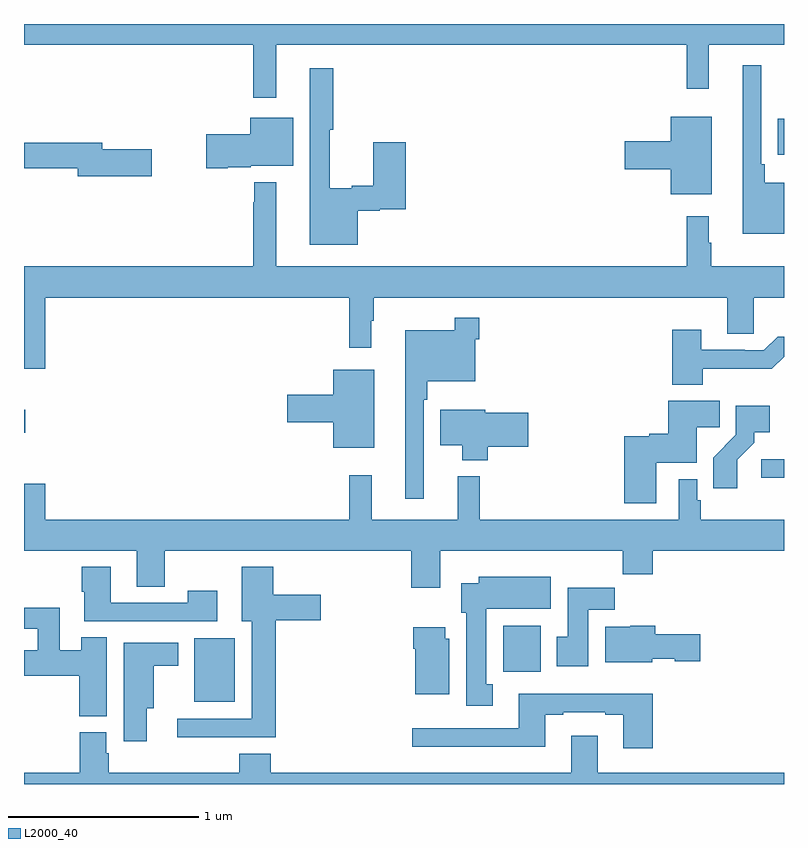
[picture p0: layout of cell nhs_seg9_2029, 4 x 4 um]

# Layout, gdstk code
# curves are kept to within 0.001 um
import gdstk
lib = gdstk.Library(unit=1e-6, precision=1e-09)
def R(c, l, rs):  # rectangles x0, y0, x1, y1
    for r in rs: c.add(gdstk.rectangle(r[:2], r[2:], *l))
def P(c, l, *ps):  # polygons
    for p in ps: c.add(gdstk.Polygon(p, *l))
L2000_40 = (2000, 40)

nhs_seg9_2029 = lib.new_cell('nhs_seg9_2029')
R(nhs_seg9_2029, L2000_40, [(225.896,1220.933,226.108,1221.268), (227.522,1221.092,227.719,1221.334), (228.879,1222.111,229,1222.209), (225,1222.349,225.007,1222.471), (228.968,1223.813,229,1224.001)])
P(nhs_seg9_2029, L2000_40, [(226.327,1224.392),(228.487,1224.392),(228.487,1224.159),(228.605,1224.159),(228.605,1224.392),(229,1224.392),(229,1224.5),(225,1224.5),(225,1224.392),(226.206,1224.392),(226.206,1224.111),(226.327,1224.111)],
  [(229,1223.665),(228.899,1223.665),(228.899,1223.761),(228.879,1223.761),(228.879,1224.283),(228.782,1224.283),(228.782,1223.396),(229,1223.396)],
  [(226.756,1223.518),(226.872,1223.518),(226.872,1223.525),(227.009,1223.525),(227.009,1223.878),(226.838,1223.878),(226.838,1223.648),(226.724,1223.648),(226.724,1223.635),(226.609,1223.635),(226.609,1223.943),(226.627,1223.943),(226.627,1224.268),(226.505,1224.268),(226.505,1223.339),(226.756,1223.339)],
  [(228.619,1224.013),(228.404,1224.013),(228.404,1223.882),(228.162,1223.882),(228.162,1223.735),(228.404,1223.735),(228.404,1223.603),(228.619,1223.603)],
  [(226.072,1223.747),(226.194,1223.747),(226.194,1223.753),(226.417,1223.753),(226.417,1224.007),(226.19,1224.007),(226.19,1223.919),(225.96,1223.919),(225.96,1223.741),(226.072,1223.741)],
  [(225.673,1223.84),(225.412,1223.84),(225.412,1223.876),(225,1223.876),(225,1223.74),(225.284,1223.74),(225.284,1223.698),(225.673,1223.698)],
  [(225.112,1223.06),(226.711,1223.06),(226.711,1222.797),(226.828,1222.797),(226.828,1222.937),(226.84,1222.937),(226.84,1223.06),(228.701,1223.06),(228.701,1222.87),(228.84,1222.87),(228.84,1223.06),(229,1223.06),(229,1223.224),(228.616,1223.224),(228.616,1223.348),(228.604,1223.348),(228.604,1223.488),(228.487,1223.488),(228.487,1223.224),(226.327,1223.224),(226.327,1223.668),(226.213,1223.668),(226.213,1223.561),(226.206,1223.561),(226.206,1223.224),(225,1223.224),(225,1222.686),(225.112,1222.686)],
  [(227.103,1222.523),(227.123,1222.523),(227.123,1222.619),(227.376,1222.619),(227.376,1222.841),(227.396,1222.841),(227.396,1222.954),(227.268,1222.954),(227.268,1222.888),(227.006,1222.888),(227.006,1222.002),(227.103,1222.002)],
  [(228.573,1222.686),(228.935,1222.685),(229,1222.75),(229,1222.855),(228.967,1222.855),(228.894,1222.782),(228.794,1222.782),(228.794,1222.785),(228.565,1222.785),(228.565,1222.891),(228.413,1222.891),(228.413,1222.601),(228.573,1222.601)],
  [(226.843,1222.681),(226.628,1222.681),(226.628,1222.55),(226.386,1222.55),(226.386,1222.403),(226.628,1222.403),(226.628,1222.271),(226.843,1222.271)],
  [(228.328,1222.19),(228.541,1222.19),(228.541,1222.378),(228.662,1222.378),(228.662,1222.516),(228.392,1222.516),(228.392,1222.343),(228.291,1222.343),(228.291,1222.33),(228.158,1222.33),(228.158,1221.978),(228.328,1221.978)],
  [(228.754,1222.207),(228.844,1222.297),(228.844,1222.352),(228.925,1222.352),(228.925,1222.492),(228.747,1222.492),(228.747,1222.337),(228.628,1222.218),(228.628,1222.056),(228.754,1222.056)],
  [(227.441,1222.276),(227.653,1222.276),(227.653,1222.454),(227.428,1222.454),(227.428,1222.471),(227.192,1222.471),(227.192,1222.283),(227.306,1222.283),(227.306,1222.205),(227.441,1222.205)],
  [(227.191,1221.728),(228.151,1221.728),(228.151,1221.604),(228.308,1221.604),(228.308,1221.728),(229,1221.728),(229,1221.892),(228.563,1221.892),(228.563,1221.993),(228.543,1221.993),(228.543,1222.105),(228.447,1222.105),(228.447,1221.892),(227.399,1221.892),(227.399,1222.12),(227.282,1222.12),(227.282,1221.892),(226.829,1221.892),(226.829,1222.126),(226.711,1222.126),(226.711,1221.892),(225.112,1221.892),(225.112,1222.081),(225,1222.081),(225,1221.728),(225.593,1221.728),(225.593,1221.538),(225.741,1221.538),(225.741,1221.728),(227.039,1221.728),(227.039,1221.534),(227.191,1221.534)],
  [(226.018,1221.517),(225.862,1221.517),(225.862,1221.453),(225.457,1221.453),(225.457,1221.643),(225.305,1221.643),(225.305,1221.511),(225.317,1221.511),(225.317,1221.357),(226.018,1221.357)],
  [(226.325,1221.362),(226.561,1221.362),(226.561,1221.496),(226.312,1221.496),(226.312,1221.643),(226.145,1221.643),(226.145,1221.356),(226.199,1221.356),(226.199,1220.844),(225.807,1220.844),(225.807,1220.747),(226.325,1220.747)],
  [(227.467,1221.026),(227.434,1221.026),(227.434,1221.422),(227.773,1221.422),(227.773,1221.592),(227.393,1221.592),(227.393,1221.556),(227.3,1221.556),(227.3,1221.402),(227.327,1221.402),(227.327,1220.913),(227.467,1220.913)],
  [(227.971,1221.416),(228.11,1221.416),(228.11,1221.534),(227.861,1221.534),(227.861,1221.276),(227.804,1221.276),(227.804,1221.12),(227.971,1221.12)],
  [(225.436,1221.272),(225.302,1221.272),(225.302,1221.205),(225.189,1221.205),(225.189,1221.427),(225,1221.427),(225,1221.318),(225.073,1221.318),(225.073,1221.205),(225,1221.205),(225,1221.071),(225.29,1221.071),(225.29,1220.857),(225.436,1220.857)],
  [(228.306,1221.158),(228.426,1221.158),(228.426,1221.146),(228.559,1221.146),(228.559,1221.288),(228.323,1221.288),(228.323,1221.334),(228.192,1221.334),(228.192,1221.328),(228.059,1221.328),(228.059,1221.14),(228.306,1221.14)],
  [(227.239,1221.264),(227.218,1221.264),(227.218,1221.325),(227.048,1221.325),(227.048,1221.212),(227.06,1221.212),(227.06,1220.972),(227.239,1220.972)],
  [(225.646,1220.9),(225.682,1220.9),(225.682,1221.122),(225.811,1221.122),(225.811,1221.244),(225.524,1221.244),(225.524,1220.724),(225.646,1220.724)],
  [(228.308,1220.974),(227.603,1220.974),(227.603,1220.793),(227.043,1220.793),(227.043,1220.696),(227.743,1220.696),(227.743,1220.865),(227.839,1220.865),(227.839,1220.877),(228.059,1220.877),(228.059,1220.865),(228.155,1220.865),(228.155,1220.688),(228.308,1220.688)],
  [(229,1220.56),(228.019,1220.56),(228.019,1220.755),(227.879,1220.755),(227.879,1220.56),(226.298,1220.56),(226.298,1220.659),(226.133,1220.659),(226.133,1220.56),(225.446,1220.56),(225.446,1220.661),(225.433,1220.661),(225.433,1220.772),(225.293,1220.772),(225.293,1220.56),(225,1220.56),(225,1220.5),(229,1220.5)])

lib.write_gds('nhs_seg9_2029.gds')
